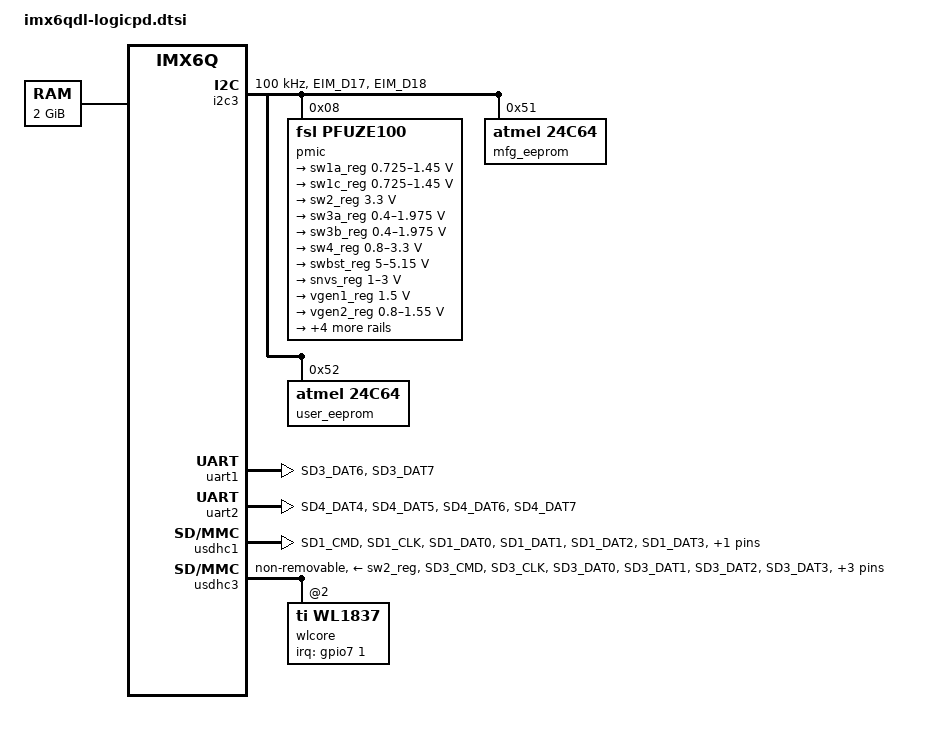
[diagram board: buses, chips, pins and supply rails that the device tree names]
/*
 * Copyright 2016 Logic PD
 * This file is adapted from imx6qdl-sabresd.dtsi.
 * Copyright 2012 Freescale Semiconductor, Inc.
 * Copyright 2011 Linaro Ltd.
 *
 * The code contained herein is licensed under the GNU General Public
 * License. You may obtain a copy of the GNU General Public License
 * Version 2 or later at the following locations:
 *
 * http://www.opensource.org/licenses/gpl-license.html
 * http://www.gnu.org/copyleft/gpl.html
 */

#include <dt-bindings/gpio/gpio.h>
#include <dt-bindings/input/input.h>
#include "imx6q.dtsi"

/ {
	chosen {
		stdout-path = &uart1;
	};

	memory {
		reg = <0x10000000 0x80000000>;
	};
};

/* Reroute power feeding the CPU to come from the external PMIC */
&reg_arm
{
	vin-supply = <&sw1a_reg>;
};

&reg_soc
{
	vin-supply = <&sw1c_reg>;
};

&clks {
	assigned-clocks = <&clks IMX6QDL_CLK_LDB_DI0_SEL>,
			  <&clks IMX6QDL_CLK_LDB_DI1_SEL>;
	assigned-clock-parents = <&clks IMX6QDL_CLK_PLL3_USB_OTG>,
				 <&clks IMX6QDL_CLK_PLL3_USB_OTG>;
};

&i2c3 {
	clock-frequency = <100000>;
	pinctrl-names = "default";
	pinctrl-0 = <&pinctrl_i2c3>;
	status = "okay";

	pmic: pfuze100@08 {
		compatible = "fsl,pfuze100";
		reg = <0x08>;

		regulators {
			sw1a_reg: sw1ab {
				regulator-min-microvolt = <725000>;
				regulator-max-microvolt = <1450000>;
				regulator-name = "vddcore";
				regulator-boot-on;
				regulator-always-on;
				regulator-ramp-delay = <6250>;
			};

			sw1c_reg: sw1c {
				regulator-min-microvolt = <725000>;
				regulator-max-microvolt = <1450000>;
				regulator-name = "vddsoc";
				regulator-boot-on;
				regulator-always-on;
				regulator-ramp-delay = <6250>;
			};

			sw2_reg: sw2 {
				regulator-min-microvolt = <3300000>;
				regulator-max-microvolt = <3300000>;
				regulator-name = "gen_3v3";
				regulator-boot-on;
				regulator-always-on;
			};

			sw3a_reg: sw3a {
				regulator-min-microvolt = <400000>;
				regulator-max-microvolt = <1975000>;
				regulator-name = "sw3a_vddr";
				regulator-boot-on;
				regulator-always-on;
			};

			sw3b_reg: sw3b {
				regulator-min-microvolt = <400000>;
				regulator-max-microvolt = <1975000>;
				regulator-name = "sw3b_vddr";
				regulator-boot-on;
				regulator-always-on;
			};

			sw4_reg: sw4 {
				regulator-min-microvolt = <800000>;
				regulator-max-microvolt = <3300000>;
				regulator-name = "gen_rgmii";
			};


			swbst_reg: swbst {
				regulator-min-microvolt = <5000000>;
				regulator-max-microvolt = <5150000>;
				regulator-name = "gen_5v0";
			};

			snvs_reg: vsnvs {
				regulator-min-microvolt = <1000000>;
				regulator-max-microvolt = <3000000>;
				regulator-name = "gen_vsns";
				regulator-boot-on;
				regulator-always-on;
			};

			vref_reg: vrefddr {
				regulator-boot-on;
				regulator-always-on;
			};

			vgen1_reg: vgen1 {
				regulator-min-microvolt = <1500000>;
				regulator-max-microvolt = <1500000>;
				regulator-name = "gen_1v5";
			};

			vgen2_reg: vgen2 {
				regulator-name = "vgen2";
				regulator-min-microvolt = <800000>;
				regulator-max-microvolt = <1550000>;
			};

			vgen3_reg: vgen3 {
				regulator-name = "gen_vadj_0";
				regulator-min-microvolt = <3000000>;
				regulator-max-microvolt = <3000000>;
			};

			vgen4_reg: vgen4 {
				regulator-name = "gen_1v8";
				regulator-min-microvolt = <1800000>;
				regulator-max-microvolt = <1800000>;
				regulator-always-on;
			};

			vgen5_reg: vgen5 {
				regulator-name = "gen_adj_1";
				regulator-min-microvolt = <3300000>;
				regulator-max-microvolt = <3300000>;
				regulator-always-on;
			};

			vgen6_reg: vgen6 {
				regulator-name = "gen_2v5";
				regulator-min-microvolt = <2500000>;
				regulator-max-microvolt = <2500000>;
				regulator-always-on;
			};
		};
	};

	mfg_eeprom: at24@51 {
		compatible = "atmel,24c64";
		pagesize = <32>;
		read-only;
		reg = <0x51>;
	};

	user_eeprom: at24@52 {
		compatible = "atmel,24c64";
		pagesize = <32>;
		reg = <0x52>;
	};
};

&iomuxc {
	pinctrl-names = "default";
	pinctrl-0 = <&pinctrl_hog>;

	pinctrl_hog: hoggrp {
		fsl,pins = <
			MX6QDL_PAD_CSI0_MCLK__ARM_TRACE_CTL		0x1b0b0
			MX6QDL_PAD_CSI0_DATA_EN__ARM_TRACE_CLK	0x1b0b0
			MX6QDL_PAD_CSI0_VSYNC__ARM_TRACE00		0x1b0b0
			MX6QDL_PAD_CSI0_DAT4__ARM_TRACE01		0x1b0b0
			MX6QDL_PAD_CSI0_DAT5__ARM_TRACE02		0x1b0b0
			MX6QDL_PAD_CSI0_DAT6__ARM_TRACE03		0x1b0b0
			MX6QDL_PAD_CSI0_DAT7__ARM_TRACE04		0x1b0b0
			MX6QDL_PAD_CSI0_DAT8__ARM_TRACE05		0x1b0b0
			MX6QDL_PAD_CSI0_DAT9__ARM_TRACE06		0x1b0b0
			MX6QDL_PAD_CSI0_DAT10__ARM_TRACE07		0x1b0b0
			MX6QDL_PAD_CSI0_DAT11__ARM_TRACE08		0x1b0b0
			MX6QDL_PAD_CSI0_DAT12__ARM_TRACE09		0x1b0b0
			MX6QDL_PAD_CSI0_DAT13__ARM_TRACE10		0x1b0b0
			MX6QDL_PAD_CSI0_DAT14__ARM_TRACE11		0x1b0b0
			MX6QDL_PAD_CSI0_DAT15__ARM_TRACE12		0x1b0b0
			MX6QDL_PAD_CSI0_DAT16__ARM_TRACE13		0x1b0b0
			MX6QDL_PAD_CSI0_DAT17__ARM_TRACE14		0x1b0b0
			MX6QDL_PAD_CSI0_DAT18__ARM_TRACE15		0x1b0b0
			MX6QDL_PAD_CSI0_DAT19__GPIO6_IO05	0x1b0b0
			MX6QDL_PAD_EIM_LBA__GPIO2_IO27	0x80000000
			MX6QDL_PAD_EIM_OE__GPIO2_IO25	0x80000000
			MX6QDL_PAD_EIM_RW__GPIO2_IO26	0x80000000
			MX6QDL_PAD_EIM_CS0__GPIO2_IO23	0x80000000
			MX6QDL_PAD_EIM_CS1__GPIO2_IO24	0x80000000
			MX6QDL_PAD_EIM_A16__GPIO2_IO22	0x80000000
			MX6QDL_PAD_EIM_A17__GPIO2_IO21	0x80000000
			MX6QDL_PAD_EIM_A18__GPIO2_IO20	0x80000000
			MX6QDL_PAD_EIM_A19__GPIO2_IO19	0x80000000
			MX6QDL_PAD_EIM_A20__GPIO2_IO18	0x80000000
			MX6QDL_PAD_EIM_A21__GPIO2_IO17	0x80000000
			MX6QDL_PAD_EIM_A22__GPIO2_IO16	0x80000000
			MX6QDL_PAD_EIM_A23__GPIO6_IO06	0x80000000
			MX6QDL_PAD_EIM_A24__GPIO5_IO04	0x80000000
			MX6QDL_PAD_EIM_A25__GPIO5_IO02	0x80000000
			MX6QDL_PAD_EIM_DA0__GPIO3_IO00	0x80000000
			MX6QDL_PAD_EIM_DA1__GPIO3_IO01	0x80000000
			MX6QDL_PAD_EIM_DA2__GPIO3_IO02	0x80000000
			MX6QDL_PAD_EIM_DA3__GPIO3_IO03	0x80000000
			MX6QDL_PAD_EIM_DA4__GPIO3_IO04	0x80000000
			MX6QDL_PAD_EIM_DA5__GPIO3_IO05	0x80000000
			MX6QDL_PAD_EIM_DA6__GPIO3_IO06	0x80000000
			MX6QDL_PAD_EIM_DA7__GPIO3_IO07	0x80000000
			MX6QDL_PAD_EIM_DA8__GPIO3_IO08	0x80000000
			MX6QDL_PAD_EIM_DA9__GPIO3_IO09	0x80000000
			MX6QDL_PAD_EIM_DA10__GPIO3_IO10	0x80000000
			MX6QDL_PAD_EIM_DA11__GPIO3_IO11	0x80000000
			MX6QDL_PAD_EIM_DA12__GPIO3_IO12	0x80000000
			MX6QDL_PAD_EIM_DA13__GPIO3_IO13	0x80000000
			MX6QDL_PAD_EIM_DA14__GPIO3_IO14	0x80000000
			MX6QDL_PAD_EIM_DA15__GPIO3_IO15	0x80000000
			MX6QDL_PAD_EIM_D16__GPIO3_IO16	0x80000000
			MX6QDL_PAD_EIM_D19__GPIO3_IO19	0x80000000
			MX6QDL_PAD_EIM_D20__GPIO3_IO20	0x80000000
			MX6QDL_PAD_EIM_D21__GPIO3_IO21	0x80000000
			MX6QDL_PAD_EIM_D22__GPIO3_IO22	0x80000000
			MX6QDL_PAD_EIM_D26__GPIO3_IO26	0x80000000
			MX6QDL_PAD_EIM_D27__GPIO3_IO27	0x80000000
			MX6QDL_PAD_EIM_EB0__GPIO2_IO28	0x80000000
			MX6QDL_PAD_EIM_EB1__GPIO2_IO29	0x80000000
			MX6QDL_PAD_EIM_EB2__GPIO2_IO30	0x80000000
			MX6QDL_PAD_EIM_BCLK__GPIO6_IO31	0x80000000
			MX6QDL_PAD_EIM_WAIT__GPIO5_IO00	0x80000000
			MX6QDL_PAD_GPIO_2__GPIO1_IO02	0x80000000
			MX6QDL_PAD_GPIO_4__GPIO1_IO04	0x80000000
			MX6QDL_PAD_GPIO_7__GPIO1_IO07	0x80000000
			MX6QDL_PAD_GPIO_8__GPIO1_IO08	0x80000000
			MX6QDL_PAD_GPIO_9__GPIO1_IO09	0x80000000
			MX6QDL_PAD_GPIO_17__GPIO7_IO12	0x80000000
			MX6QDL_PAD_GPIO_18__GPIO7_IO13	0x80000000
			MX6QDL_PAD_GPIO_19__GPIO4_IO05	0x80000000
			MX6QDL_PAD_KEY_COL0__GPIO4_IO06	0x80000000
			MX6QDL_PAD_KEY_ROW0__GPIO4_IO07	0x80000000
			MX6QDL_PAD_KEY_COL1__GPIO4_IO08	0x80000000
			MX6QDL_PAD_NANDF_CS1__GPIO6_IO14	0x80000000
			MX6QDL_PAD_NANDF_CS3__GPIO6_IO16	0x80000000
			MX6QDL_PAD_RGMII_TD0__GPIO6_IO20	0x80000000
			MX6QDL_PAD_RGMII_TD1__GPIO6_IO21	0x80000000
			MX6QDL_PAD_RGMII_TD2__GPIO6_IO22	0x80000000
			MX6QDL_PAD_RGMII_TD3__GPIO6_IO23	0x80000000
			MX6QDL_PAD_RGMII_RD0__GPIO6_IO25	0x80000000
			MX6QDL_PAD_RGMII_RD1__GPIO6_IO27	0x80000000
			MX6QDL_PAD_RGMII_RD2__GPIO6_IO28	0x80000000
			MX6QDL_PAD_RGMII_RD3__GPIO6_IO29	0x80000000
			MX6QDL_PAD_SD4_DAT0__GPIO2_IO08	0x80000000
			MX6QDL_PAD_SD4_DAT3__GPIO2_IO11	0x80000000
		>;
	};

	pinctrl_i2c3: i2c3grp {
		fsl,pins = <
			MX6QDL_PAD_EIM_D17__I2C3_SCL		0x4001b8b1
			MX6QDL_PAD_EIM_D18__I2C3_SDA		0x4001b8b1
		>;
	};

	pinctrl_uart1: uart1grp {
		fsl,pins = <
			MX6QDL_PAD_SD3_DAT6__UART1_RX_DATA	0x1b0b1
			MX6QDL_PAD_SD3_DAT7__UART1_TX_DATA	0x1b0b1
		>;
	};

	pinctrl_uart2: uart2grp {
		fsl,pins = <
			MX6QDL_PAD_SD4_DAT4__UART2_RX_DATA	0x1b0b1
			MX6QDL_PAD_SD4_DAT5__UART2_RTS_B	0x1b0b1
			MX6QDL_PAD_SD4_DAT6__UART2_CTS_B	0x1b0b1
			MX6QDL_PAD_SD4_DAT7__UART2_TX_DATA	0x1b0b1
		>;
	};

	pinctrl_usdhc1: usdhc1grp {
		fsl,pins = <
			MX6QDL_PAD_SD1_CMD__SD1_CMD    0x17071
			MX6QDL_PAD_SD1_CLK__SD1_CLK    0x10071
			MX6QDL_PAD_SD1_DAT0__SD1_DATA0 0x17071
			MX6QDL_PAD_SD1_DAT1__SD1_DATA1 0x17071
			MX6QDL_PAD_SD1_DAT2__SD1_DATA2 0x17071
			MX6QDL_PAD_SD1_DAT3__SD1_DATA3 0x17071
		>;
	};

	pinctrl_usdhc3: usdhc3grp {
		fsl,pins = <
			MX6QDL_PAD_SD3_CMD__SD3_CMD    0x17059
			MX6QDL_PAD_SD3_CLK__SD3_CLK    0x10059
			MX6QDL_PAD_SD3_DAT0__SD3_DATA0 0x17059
			MX6QDL_PAD_SD3_DAT1__SD3_DATA1 0x17059
			MX6QDL_PAD_SD3_DAT2__SD3_DATA2 0x17059
			MX6QDL_PAD_SD3_DAT3__SD3_DATA3 0x17059
			MX6QDL_PAD_SD3_DAT4__GPIO7_IO01	0x1f0b0 /* WL_IRQ */
			MX6QDL_PAD_SD3_DAT5__GPIO7_IO00	0x1f0b0 /* WLAN_EN */
			MX6QDL_PAD_SD3_RST__GPIO7_IO08	0x1f0b0	/* BT_EN */
		>;
	};
};

&uart1 {
	pinctrl-names = "default";
	pinctrl-0 = <&pinctrl_uart1>;
	status = "okay";
};

&uart2 {
	pinctrl-names = "default";
	pinctrl-0 = <&pinctrl_uart2>;
	status = "okay";
};

&usdhc1 {
	pinctrl-names = "default";
	pinctrl-0 = <&pinctrl_usdhc1>;
	cd-gpios = <&gpio6 16 GPIO_ACTIVE_HIGH>;
	keep-power-in-suspend;
	enable-sdio-wakeup;
	status = "okay";
};

&usdhc3 {
	pinctrl-names = "default";
	pinctrl-0 = <&pinctrl_usdhc3>;
	non-removable;
	keep-power-in-suspend;
	enable-sdio-wakeup;
	vmmc-supply = <&sw2_reg>;
	status = "okay";
	#address-cells = <1>;
	#size-cells = <0>;
	wlcore: wlcore@0 {
		  compatible = "ti,wl1837";
		  reg = <2>;
		  interrupt-parent = <&gpio7>;
		  interrupts = <1 GPIO_ACTIVE_HIGH>;
	};
};
